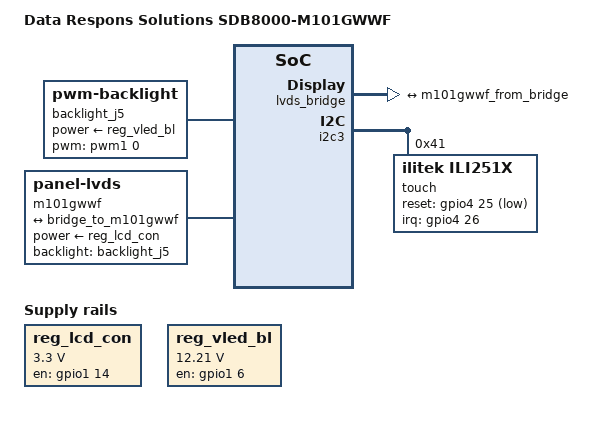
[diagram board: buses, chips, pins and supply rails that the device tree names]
// SPDX-License-Identifier: (GPL-2.0+ OR MIT)
/*
 * Copyright 2021 Data Respons Solutions AB
 */

/dts-v1/;

#include "sdb8000.dts"

/ {
	model = "Data Respons Solutions SDB8000-M101GWWF";

	reg_lcd_con: regulator-lcd-con {
		compatible = "regulator-fixed";
		pinctrl-names = "default";
		pinctrl-0 = <&pinctrl_reg_lcd_con>;
		regulator-name = "LCD_CON-VDD";
		regulator-min-microvolt = <3300000>;
		regulator-max-microvolt = <3300000>;
		gpio = <&gpio1 14 GPIO_ACTIVE_HIGH>;
		startup-delay-us = <30000>;
		enable-active-high;
	};

	reg_vled_bl: regulator-vled-bl {
		compatible = "regulator-fixed";
		pinctrl-names = "default";
		pinctrl-0 = <&pinctrl_reg_vled_bl>;
		regulator-name = "VLED_BL";
		regulator-min-microvolt = <12210000>;
		regulator-max-microvolt = <12210000>;
		gpio = <&gpio1 6 GPIO_ACTIVE_HIGH>;
		startup-delay-us = <200000>;
		enable-active-high;
	};

	backlight_j5: backlight-j5 {
		compatible = "pwm-backlight";
		pwms = <&pwm1 0 1000000>;
        brightness-levels = <	0 1 2 3 4 5 6 7 8 9 10 15 20 25
        						30 40 50 60 70 80 90 100 120 150
        					>;
		default-brightness-level = <23>;
		power-supply = <&reg_vled_bl>;
	};

	panel_lvds: m101gwwf {
		compatible = "panel-lvds";
		label = "m101gwwf";
		data-mapping = "jeida-24";
		width-mm = <217>;
		height-mm = <136>;
		power-supply = <&reg_lcd_con>;
		backlight = <&backlight_j5>;

		panel-timing {
			clock-frequency = <72400000>; // 70,0 ~ 76,6
			hactive = <1280>;
			vactive = <800>;
			hback-porch = <88>;
			hfront-porch = <70>;
			vback-porch = <21>;
			vfront-porch = <15>;
			hsync-len = <2>;
			vsync-len = <2>;
		};

		port {
			m101gwwf_from_bridge: endpoint {
				remote-endpoint = <&bridge_to_m101gwwf>;
			};
		};
	};
};

&lvds_bridge {
	ports {
		port@2 {
			reg = <2>;
			bridge_to_m101gwwf: endpoint {
				remote-endpoint = <&m101gwwf_from_bridge>;
			};
		};
	};
};

&i2c3 {
	touch: ili2511@41 {
    	compatible = "ilitek,ili251x";
    	reg = <0x41>;
    	interrupt-parent = <&gpio4>;
    	interrupts = <26 IRQ_TYPE_EDGE_FALLING>;
    	reset-gpios = <&gpio4 25 GPIO_ACTIVE_LOW>;
	};
};

&iomuxc {
	pinctrl-names = "default";
	pinctrl-0 = <&pinctrl_hog_1>;

	pinctrl_hog_1: hog1grp {
		fsl,pins = <
			// Used by panel
			MX8MM_IOMUXC_SAI5_MCLK_GPIO3_IO25	0x0 /* LCD_CON-RESET */
			MX8MM_IOMUXC_GPIO1_IO11_GPIO1_IO11	0x0 /* LCD_CON-STBY */
			MX8MM_IOMUXC_SAI2_TXD0_GPIO4_IO26	0x80 /* INT_TP */
			MX8MM_IOMUXC_SAI2_TXC_GPIO4_IO25	0x0 /* RST_TP */
		>;
	};

	pinctrl_reg_lcd_con: reglcdcongrp {
		fsl,pins = <
			MX8MM_IOMUXC_GPIO1_IO14_GPIO1_IO14	0x0 /* LCD_PWR_EN */
		>;
	};

	pinctrl_reg_vled_bl: regvledblgrp {
		fsl,pins = <
			MX8MM_IOMUXC_GPIO1_IO06_GPIO1_IO6 0x0 /* LCD_BK_EN-CPU */
		>;
	};
};
